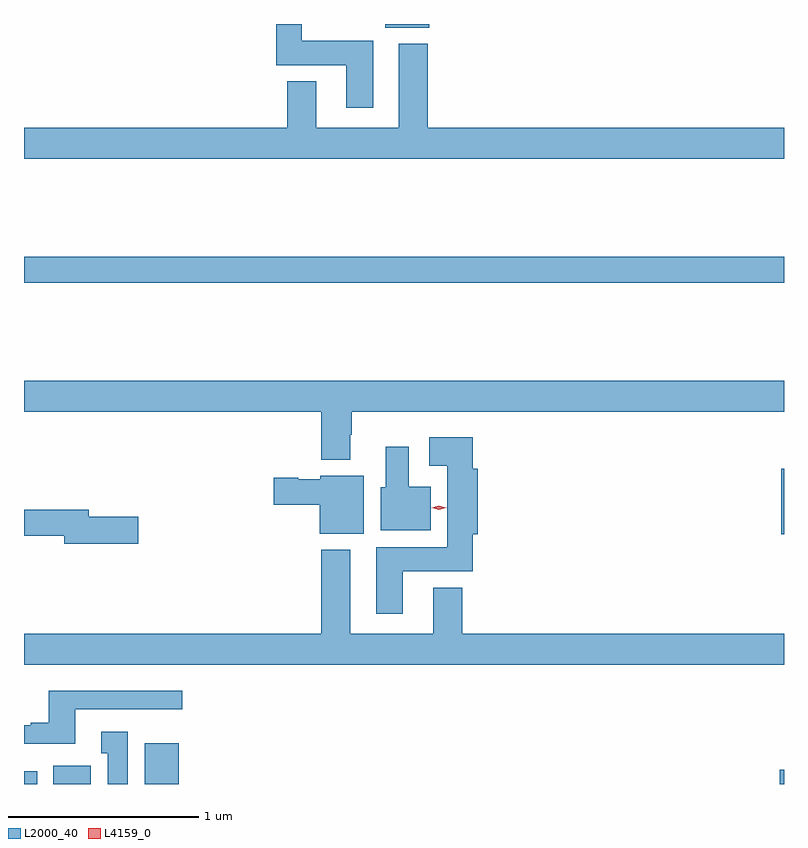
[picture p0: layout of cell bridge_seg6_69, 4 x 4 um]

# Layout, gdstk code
import gdstk
lib = gdstk.Library(unit=1e-6, precision=1e-09)
def R(c, l, rs):  # rectangles x0, y0, x1, y1
    for r in rs: c.add(gdstk.rectangle(r[:2], r[2:], *l))
def P(c, l, *ps):  # polygons
    for p in ps: c.add(gdstk.Polygon(p, *l))
L2000_40 = (2000, 40)
L4159_0 = (4159, 0)

bridge_seg6_69 = lib.new_cell('bridge_seg6_69')
R(bridge_seg6_69, L2000_40, [(769.416,926.729,769.486,926.797), (769.571,926.729,769.768,926.824), (770.051,926.729,770.23,926.944), (773.394,926.729,773.416,926.804), (773.402,928.043,773.416,928.387), (769.416,929.368,773.416,929.504), (771.317,930.71,771.55,930.729), (770.966,930.728,771.229,930.729)])
P(bridge_seg6_69, L2000_40, [(771.253,930.64),(770.878,930.64),(770.878,930.729),(770.744,930.729),(770.744,930.512),(771.113,930.512),(771.113,930.288),(771.253,930.288)],
  [(773.416,930.184),(771.542,930.184),(771.542,930.625),(771.389,930.625),(771.389,930.184),(770.953,930.184),(770.953,930.427),(770.801,930.427),(770.801,930.184),(769.416,930.184),(769.416,930.02),(773.416,930.02)],
  [(771.133,928.568),(771.141,928.568),(771.141,928.688),(773.416,928.688),(773.416,928.852),(769.416,928.852),(769.416,928.688),(770.981,928.688),(770.981,928.436),(771.133,928.436)],
  [(771.409,927.848),(771.779,927.848),(771.779,928.043),(771.805,928.043),(771.805,928.387),(771.779,928.387),(771.779,928.555),(771.549,928.555),(771.549,928.403),(771.644,928.403),(771.644,927.976),(771.269,927.976),(771.269,927.624),(771.409,927.624)],
  [(771.556,928.294),(771.442,928.294),(771.442,928.504),(771.32,928.504),(771.32,928.29),(771.293,928.29),(771.293,928.064),(771.556,928.064)],
  [(771.205,928.351),(770.976,928.351),(770.976,928.333),(770.859,928.333),(770.859,928.341),(770.73,928.341),(770.73,928.199),(770.972,928.199),(770.972,928.046),(771.205,928.046)],
  [(770.017,928.136),(769.756,928.136),(769.756,928.172),(769.416,928.172),(769.416,928.036),(769.628,928.036),(769.628,927.994),(770.017,927.994)],
  [(773.416,927.52),(771.722,927.52),(771.722,927.763),(771.569,927.763),(771.569,927.52),(771.133,927.52),(771.133,927.961),(770.981,927.961),(770.981,927.52),(769.416,927.52),(769.416,927.356),(773.416,927.356)],
  [(769.687,927.123),(770.248,927.123),(770.248,927.22),(769.547,927.22),(769.547,927.052),(769.451,927.052),(769.451,927.039),(769.416,927.039),(769.416,926.942),(769.687,926.942)],
  [(769.963,927.004),(769.823,927.004),(769.823,926.891),(769.856,926.891),(769.856,926.729),(769.963,926.729)])
P(bridge_seg6_69, L4159_0, [(771.6,928.173),(771.561,928.183),(771.56,928.183),(771.561,928.183),(771.6,928.193),(771.639,928.183),(771.639,928.183),(771.639,928.183)])

lib.write_gds('bridge_seg6_69.gds')
